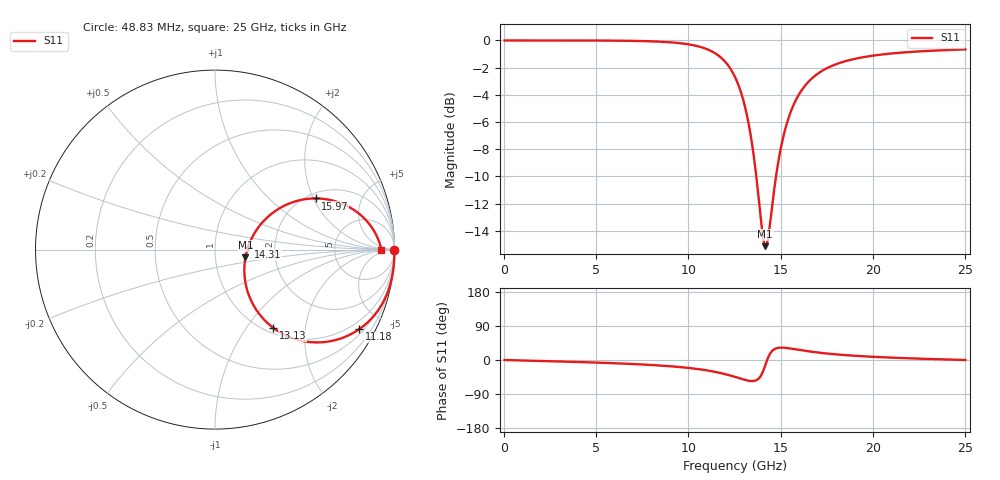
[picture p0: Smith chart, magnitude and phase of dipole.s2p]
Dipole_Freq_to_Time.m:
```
%% Antenna Dipole Code
clear all
addpath(genpath('H:\Meu Drive\SocieForParaOPlay\SpectralBook\bookfuncs\matlab')) %%CST API
Path='H:\Meu Drive\SocieForParaOPlay\SpectralBook\bookfuncs\matlab\MatlabSimuOutputs\'
%% Parameters
jay=sqrt(-1);        %Unidade imaginaria 
cc=2.997925e8;        %Velocidade da luz
e0=8.854223e-12;  %Permissividade absoluta do meio
u0=1.256640e-6;       %Permeabilidade absoluta do meio
eta=sqrt(u0/e0);       %Impedancia do meio
f0=3e9 ;                  % Observation frequency
Lamb0=cc/f0 ;              % Observation wavelength
Ld=Lamb0/10;                 % Dipole Length
Wd=Lamb0/1000 ;              % Dipole Width
Nq=96;           %Numero de pontos na frequencia
RefZ0=50;  %Reference Impedance Generator
Fs=50e9;  %% FFT sampling frequency
Nfft=1025; %% NFFT sampling frequency
DeltaFs=Fs/(Nfft-1)/1e6; % Delta Fs
f=Fs/2*linspace(-1,1,Nfft);
f_inicial=0.1e9;      %Frequencia inicial de analise do dipolo
[~,id0]=min(abs(f-0));
% [~,idf]=min(abs(f-f_final));
freq=f(id0+1:end);
Lambda=cc./f; 
k=2.*pi.*f.*sqrt(e0.*u0);
d = dipole(Length=Ld,Width=Wd);
f(id0)

%% S-Parameters
spar=sparameters(d,freq,RefZ0)
rfwrite(spar,[Path,'dipole.s2p'])
s11=squeeze(spar.Parameters).'

figure
rfplot(spar)
%%
s11nfreq=[fliplr(conj(s11)),s11(1),s11];
figure
plot(f/1e9,20*log10(abs(fftshift(s11nfreq))))
title('Voltage Time Signal')
xlabel('Frequency (GHz)','fontsize',10,'fontweight','b');
ylabel('Mag (V)','fontsize',10,'fontweight','b');
%% Time Reversal Setting
deltat=1/Fs;
Nt=1025;
BW=20e9;
tau=1/BW;
td=-2*tau;
t0=-1e-9;
tf=Nt*deltat;
t=linspace(t0,tf,Nt);
Vinc=gaussinaSignal(t,tau,td);
VSinc=fftshift(fft(Vinc,Nfft));
VSreflected=s11nfreq.*VSinc
Vreflected=ifft(ifftshift(VSreflected))

figure,
subplot 221
plot(t/1e-9,Vinc,t/1e-9,Vreflected)
title('Voltage Time Signal')
xlabel('Time (ns)','fontsize',10,'fontweight','b');
ylabel('Amplitude (V)','fontsize',10,'fontweight','b');
xlim([-1 4])

subplot 222
plot(t/1e-9,real(Vreflected),t/1e-9,imag(Vreflected))
title('Phase Vreclected')
xlabel('Time (ns)','fontsize',10,'fontweight','b');
ylabel('Amplitude (V)','fontsize',10,'fontweight','b');

subplot 223
plot(f/1e9,20*log10(abs((VSinc))))
title('Mag VSinc')
xlabel('Frequency (GHz)','fontsize',10,'fontweight','b');
ylabel('Mag (V)','fontsize',10,'fontweight','b');

subplot 224
title('Phase VSinc')
plot(f/1e9,180/pi*angle(fftshift(VSinc)))
xlabel('Frequency (GHz)','fontsize',10,'fontweight','b');
ylabel('Phase (Deg)','fontsize',10,'fontweight','b');
%% Plot Dipole Impedance
z11=squeeze(s2z(s11));
zlim=[-2000,2000]
plotZfreq(freq,z11,zlim)

%% Smith chart
clear h
addMatching
figure
h=smithplot(spar), hold on
% t=text(radius-0.5,-0.7,'CW Toward Generator')
% t(1).Color = 'black';
% t(1).FontSize = 16;
% set(t,'Rotation',90);
% t2=text(-radius+0.5,-0.5,'CCW Toward Load')
% t2(1).Color = 'black';
% t2(1).FontSize = 16;
% set(t2,'Rotation',90);
```
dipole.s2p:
# GHz S RI R 50
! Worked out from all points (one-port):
!   512 points, 48.83 MHz to 25 GHz, reference 50 ohm
!   lowest |S11| = -15.1 dB at 14.16 GHz (marker M1), VSWR 1.42, Z = 70.1 - j6.27 ohm
!   |S11| at or under -10 dB: 13.68 GHz to 14.75 GHz (1.068 GHz wide, 7.52 % of centre)
!   S11 on the Smith chart (normalised r, x): 48.83 MHz: open; 11.18 GHz: 0.67, -3.77; 13.13 GHz: 1.09, -1.35; 14.31 GHz: 1.45, +0.05; 15.97 GHz: 2.20, +2.08; 25 GHz: 26, +0
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0.04882812  1 -0.00104
8.398438  0.9593 -0.2453
10.00977  0.9038 -0.3455
11.18164  0.8038 -0.4431
12.40234  0.5591 -0.5171
13.13477  0.3255 -0.4367
13.67188  0.1895 -0.2563
14.16016  0.1697 -0.0433
14.30664  0.1853 0.0167
15.08789  0.3595 0.2303
15.9668  0.5611 0.2852
16.69922  0.6749 0.2679
19.48242  0.8556 0.1474
25  0.9269 0.000389
